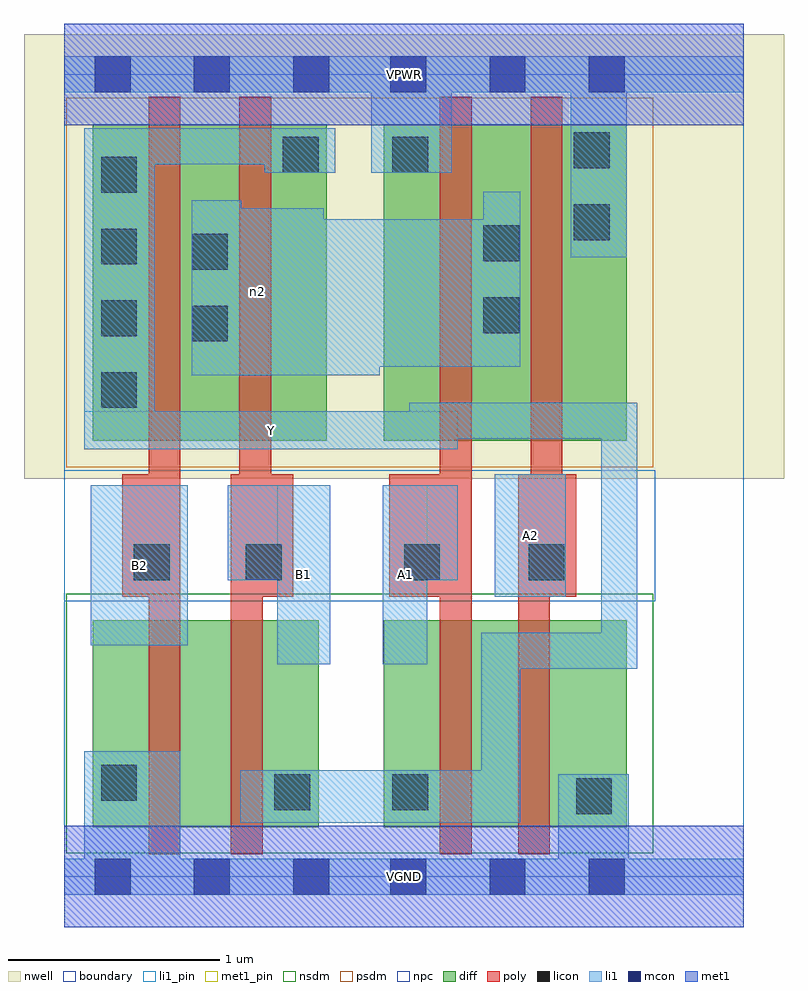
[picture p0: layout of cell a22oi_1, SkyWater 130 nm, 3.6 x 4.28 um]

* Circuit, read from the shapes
.subckt a22oi_1 A1 A2 B1 B2 VGND VPWR Y n2
XM1 n1 B2 VGND VSUBS sky130_fd_pr__nfet_01v8 w=0.98 l=0.15
XM2 Y B1 n1 VSUBS sky130_fd_pr__nfet_01v8 w=0.98 l=0.15
XM3 n3 A1 Y VSUBS sky130_fd_pr__nfet_01v8 w=0.98 l=0.15
XM4 VGND A2 n3 VSUBS sky130_fd_pr__nfet_01v8 w=0.98 l=0.15
XM5 n2 B2 Y n4 sky130_fd_pr__pfet_01v8 w=1.5 l=0.15
XM6 Y B1 n2 n4 sky130_fd_pr__pfet_01v8 w=1.5 l=0.15
XM7 n2 A1 VPWR n4 sky130_fd_pr__pfet_01v8 w=1.5 l=0.15
XM8 VPWR A2 n2 n4 sky130_fd_pr__pfet_01v8 w=1.5 l=0.15
.ends

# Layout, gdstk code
import gdstk
lib = gdstk.Library(unit=1e-6, precision=1e-09)
def R(c, l, rs):  # rectangles x0, y0, x1, y1
    for r in rs: c.add(gdstk.rectangle(r[:2], r[2:], *l))
def A(c, l, x, y, w, h, nx, ny, dx, dy):  # array of equal rectangles
    R(c, l, [(x+i*dx, y+j*dy, x+i*dx+w, y+j*dy+h) for i in range(nx) for j in range(ny)])
nwell = (64, 20)
diff = (65, 20)
poly = (66, 20)
licon = (66, 44)
li1_pin = (67, 16)
li1 = (67, 20)
mcon = (67, 44)
met1_pin = (68, 16)
met1 = (68, 20)
nsdm = (93, 44)
psdm = (94, 20)
npc = (95, 20)
boundary = (235, 4)

a22oi_1 = lib.new_cell('a22oi_1')
R(a22oi_1, nwell, [(-0.19,1.885,3.41,3.99), (0,1.885,3.22,3.99)])
R(a22oi_1, diff, [(0.135,0.235,1.205,1.215), (1.515,0.235,2.665,1.215), (0.135,2.065,1.245,3.565), (1.515,2.065,2.665,3.565)])
R(a22oi_1, poly, [(0.4,0.105,0.55,3.695), (0.79,0.105,0.94,1.905), (1.78,0.105,1.93,3.695), (2.15,0.105,2.3,1.905), (0.275,1.325,0.55,1.905), (0.79,1.325,1.085,1.905), (0.83,1.325,0.98,3.695), (1.54,1.325,1.93,1.905), (2.15,1.325,2.425,1.905), (2.21,1.325,2.36,3.695)])
A(a22oi_1, licon, 0.175, 2.22, 0.17, 0.17, 1, 4, 0, 0.34)
R(a22oi_1, licon, [(2.425,0.295,2.595,0.465), (0.995,0.315,1.165,0.485), (1.555,0.315,1.725,0.485), (0.175,0.36,0.345,0.53), (0.33,1.405,0.5,1.575), (0.86,1.405,1.03,1.575), (1.61,1.405,1.78,1.575), (2.2,1.405,2.37,1.575), (0.605,2.535,0.775,2.705), (1.985,2.575,2.155,2.745), (0.605,2.875,0.775,3.045), (1.985,2.915,2.155,3.085), (2.415,3.015,2.585,3.185), (1.035,3.335,1.205,3.505), (1.555,3.335,1.725,3.505), (2.415,3.355,2.585,3.525)])
R(a22oi_1, li1_pin, [(1.01,1.005,1.26,1.855), (1.51,1.005,1.72,1.855), (0.125,1.095,0.585,1.855), (2.04,1.325,2.375,1.905), (0.095,2.025,1.865,2.205)])
R(a22oi_1, li1, [(0,-0.085,3.22,0.085), (0.095,-0.085,0.55,0.595), (2.34,-0.085,2.675,0.485), (0.835,0.255,2.16,0.505), (1.975,0.255,2.16,1.155), (1.975,0.985,2.715,1.155), (2.545,0.985,2.715,2.245), (1.01,1.005,1.26,1.855), (1.51,1.005,1.72,1.855), (0.125,1.095,0.585,1.855), (2.04,1.325,2.375,1.905), (0.775,1.405,1.26,1.855), (1.51,1.405,1.865,1.855), (0.095,2.025,0.43,3.545), (0.095,2.025,1.865,2.205), (1.635,2.075,2.715,2.245), (0.605,2.375,1.23,3.165), (0.605,2.375,1.495,3.115), (0.605,2.375,0.84,3.205), (0.605,2.415,2.16,3.115), (1.985,2.415,2.16,3.245), (2.4,2.935,2.665,3.885), (0.95,3.335,1.285,3.545), (1.455,3.335,1.835,3.885), (0.095,3.375,1.285,3.545), (0,3.715,3.22,3.885)])
A(a22oi_1, mcon, 0.145, -0.085, 0.17, 0.17, 3, 2, 0.47, 3.8)
A(a22oi_1, mcon, 1.545, -0.085, 0.17, 0.17, 3, 2, 0.47, 3.8)
R(a22oi_1, met1_pin, [(0,-0.24,3.22,0.24), (0,3.56,3.22,4.04)])
R(a22oi_1, met1, [(0,-0.24,3.22,0.24), (0,3.56,3.22,4.04)])
R(a22oi_1, nsdm, [(0.01,0.11,2.79,1.34)])
R(a22oi_1, psdm, [(0.01,1.94,2.79,3.69)])
R(a22oi_1, npc, [(0,1.305,2.8,1.925)])
R(a22oi_1, boundary, [(0,0,3.22,3.8)])
a22oi_1.add(gdstk.Label('A1', (1.615,1.43), layer=67, texttype=5))
a22oi_1.add(gdstk.Label('A2', (2.207,1.615), layer=67, texttype=5))
a22oi_1.add(gdstk.Label('B1', (1.135,1.43), layer=67, texttype=5))
a22oi_1.add(gdstk.Label('B2', (0.355,1.475), layer=67, texttype=5))
a22oi_1.add(gdstk.Label('Y', (0.98,2.115), layer=67, texttype=5))
a22oi_1.add(gdstk.Label('n2', (0.917,2.77), layer=67, texttype=5))
a22oi_1.add(gdstk.Label('VPWR', (1.61,3.8), layer=68, texttype=5))
a22oi_1.add(gdstk.Label('VGND', (1.61,0), layer=68, texttype=5))
a22oi_1.add(gdstk.Label('A1', (1.615,1.43), layer=67, texttype=16))
a22oi_1.add(gdstk.Label('A2', (2.207,1.615), layer=67, texttype=16))
a22oi_1.add(gdstk.Label('B1', (1.135,1.43), layer=67, texttype=16))
a22oi_1.add(gdstk.Label('B2', (0.355,1.475), layer=67, texttype=16))
a22oi_1.add(gdstk.Label('Y', (0.98,2.115), layer=67, texttype=16))
a22oi_1.add(gdstk.Label('VPWR', (1.61,3.8), layer=68, texttype=16))
a22oi_1.add(gdstk.Label('VGND', (1.61,0), layer=68, texttype=16))

lib.write_gds('a22oi_1.gds')
